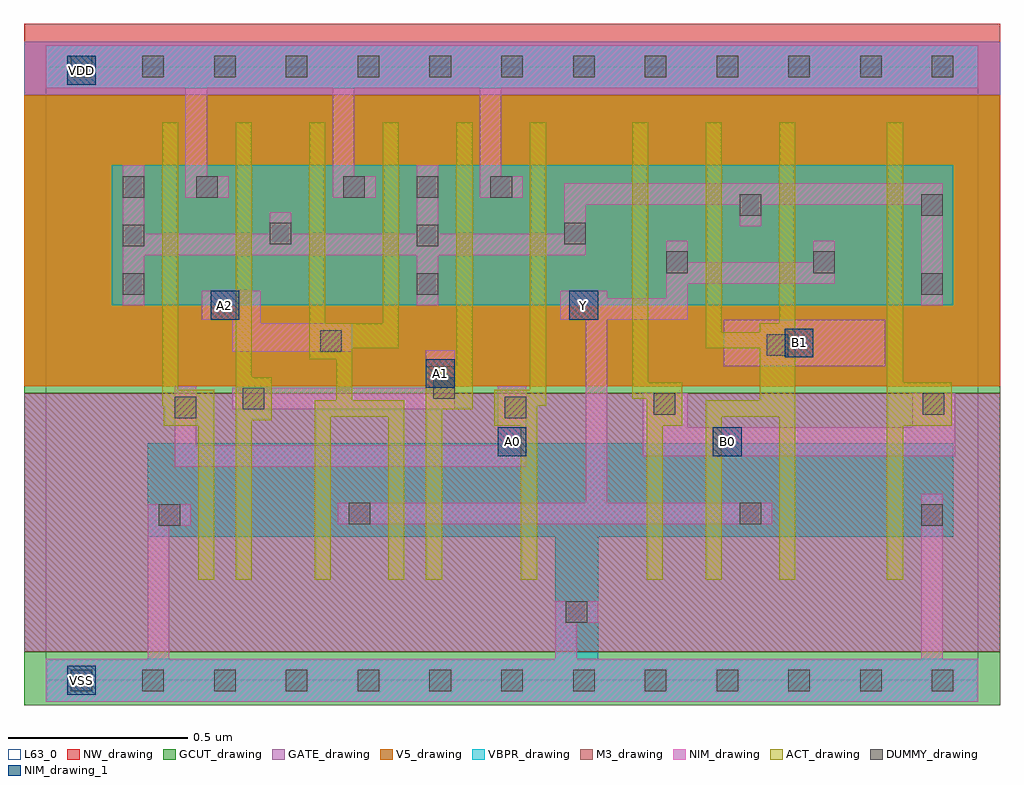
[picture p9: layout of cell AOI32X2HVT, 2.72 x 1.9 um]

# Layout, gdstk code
import gdstk
lib = gdstk.Library(unit=1e-6, precision=5e-10)
def R(c, l, rs):  # rectangles x0, y0, x1, y1
    for r in rs: c.add(gdstk.rectangle(r[:2], r[2:], *l))
def A(c, l, x, y, w, h, nx, ny, dx, dy):  # array of equal rectangles
    R(c, l, [(x+i*dx, y+j*dy, x+i*dx+w, y+j*dy+h) for i in range(nx) for j in range(ny)])
def P(c, l, *ps):  # polygons
    for p in ps: c.add(gdstk.Polygon(p, *l))
VBPR_drawing = (1, 0)
NW_drawing = (2, 0)
ACT_drawing = (3, 0)
GATE_drawing = (4, 0)
GCUT_drawing = (5, 0)
DUMMY_drawing = (6, 0)
NIM_drawing = (7, 0)
NIM_drawing_1 = (7, 1)
M3_drawing = (18, 0)
V5_drawing = (23, 0)
L63_0 = (63, 0)

aoi32x2hvt = lib.new_cell('AOI32X2HVT')
R(aoi32x2hvt, VBPR_drawing, [(0,-0.06,2.6,0.06), (0.185,1.045,2.53,1.435), (0,1.65,2.6,1.77)])
P(aoi32x2hvt, VBPR_drawing, [(2.53,0.66),(0.285,0.66),(0.285,0.4),(1.42,0.4),(1.42,0.06),(1.54,0.06),(1.54,0.4),(2.53,0.4)])
R(aoi32x2hvt, NW_drawing, [(-0.06,0.82,2.66,1.83)])
P(aoi32x2hvt, ACT_drawing, [(0.325,1.555),(0.37,1.555),(0.37,0.81),(0.47,0.81),(0.47,0.28),(0.425,0.28),(0.425,0.71),(0.33,0.71),(0.33,0.765),(0.325,0.765)],
  [(0.53,1.555),(0.575,1.555),(0.575,0.845),(0.63,0.845),(0.63,0.725),(0.575,0.725),(0.575,0.28),(0.53,0.28)],
  [(0.735,1.555),(0.78,1.555),(0.78,0.995),(0.94,0.995),(0.94,1.555),(0.985,1.555),(0.985,0.925),(0.855,0.925),(0.855,0.78),(1,0.78),(1,0.28),(0.955,0.28),(0.955,0.735),(0.795,0.735),(0.795,0.28),(0.75,0.28),(0.75,0.78),(0.81,0.78),(0.81,0.895),(0.735,0.895)],
  [(1.145,1.555),(1.19,1.555),(1.19,0.755),(1.105,0.755),(1.105,0.28),(1.06,0.28),(1.06,0.875),(1.145,0.875)],
  [(1.35,1.555),(1.395,1.555),(1.395,0.765),(1.37,0.765),(1.37,0.28),(1.325,0.28),(1.325,0.71),(1.25,0.71),(1.25,0.81),(1.35,0.81)],
  [(1.635,1.555),(1.68,1.555),(1.68,0.83),(1.775,0.83),(1.775,0.71),(1.72,0.71),(1.72,0.28),(1.675,0.28),(1.675,0.785),(1.635,0.785)],
  [(1.84,1.555),(1.885,1.555),(1.885,0.97),(1.99,0.97),(1.99,0.995),(2.045,0.995),(2.045,1.555),(2.09,1.555),(2.09,0.28),(2.045,0.28),(2.045,0.735),(1.885,0.735),(1.885,0.28),(1.84,0.28),(1.84,0.78),(1.99,0.78),(1.99,0.925),(1.84,0.925)],
  [(2.345,1.555),(2.39,1.555),(2.39,0.83),(2.525,0.83),(2.525,0.71),(2.39,0.71),(2.39,0.28),(2.345,0.28)])
R(aoi32x2hvt, GATE_drawing, [(-0.06,0.08,2.66,0.8), (-0.06,1.63,2.66,1.78)])
R(aoi32x2hvt, GCUT_drawing, [(-0.06,-0.07,2.66,0.08), (-0.06,0.8,2.66,1.63)])
A(aoi32x2hvt, DUMMY_drawing, 0.07, -0.03, 0.06, 0.06, 13, 2, 0.2, 1.71)
A(aoi32x2hvt, DUMMY_drawing, 0.215, 1.075, 0.06, 0.06, 1, 3, 0, 0.135)
A(aoi32x2hvt, DUMMY_drawing, 0.83, 1.345, 0.06, 0.06, 3, 1, 0.205, 0)
R(aoi32x2hvt, DUMMY_drawing, [(1.45,0.16,1.51,0.22), (0.315,0.43,0.375,0.49), (2.44,0.43,2.5,0.49), (0.845,0.435,0.905,0.495), (1.935,0.435,1.995,0.495), (0.36,0.73,0.42,0.79), (1.28,0.73,1.34,0.79), (1.695,0.74,1.755,0.8), (2.445,0.74,2.505,0.8), (0.55,0.755,0.61,0.815), (1.08,0.785,1.14,0.845), (2.01,0.905,2.07,0.965), (0.765,0.915,0.825,0.975), (1.035,1.075,1.095,1.135), (2.44,1.075,2.5,1.135), (1.73,1.135,1.79,1.195), (2.14,1.135,2.2,1.195), (1.035,1.21,1.095,1.27), (0.625,1.215,0.685,1.275), (1.445,1.215,1.505,1.275), (1.935,1.295,1.995,1.355), (2.44,1.295,2.5,1.355), (0.42,1.345,0.48,1.405)])
R(aoi32x2hvt, NIM_drawing, [(2.44,0.06,2.5,0.52), (1.89,0.875,2.34,1.005)])
P(aoi32x2hvt, NIM_drawing, [(0.405,0.49),(0.285,0.49),(0.285,0.06),(0.345,0.06),(0.345,0.43),(0.405,0.43)],
  [(0.92,1.405),(0.86,1.405),(0.86,1.65),(0.8,1.65),(0.8,1.345),(0.92,1.345)],
  [(0.51,1.405),(0.45,1.405),(0.45,1.65),(0.39,1.65),(0.39,1.345),(0.51,1.345)],
  [(1.54,0.22),(1.42,0.22),(1.42,0.06),(1.48,0.06),(1.48,0.16),(1.54,0.16)],
  [(1.33,1.405),(1.27,1.405),(1.27,1.65),(1.21,1.65),(1.21,1.345),(1.33,1.345)],
  [(0.215,1.435),(0.275,1.435),(0.275,1.245),(0.625,1.245),(0.625,1.305),(0.685,1.305),(0.685,1.245),(1.035,1.245),(1.035,1.435),(1.095,1.435),(1.095,1.245),(1.445,1.245),(1.445,1.385),(2.5,1.385),(2.5,1.045),(2.44,1.045),(2.44,1.325),(1.995,1.325),(1.995,1.265),(1.935,1.265),(1.935,1.325),(1.505,1.325),(1.505,1.185),(1.095,1.185),(1.095,1.045),(1.035,1.045),(1.035,1.185),(0.275,1.185),(0.275,1.045),(0.215,1.045)],
  [(0.435,1.085),(0.6,1.085),(0.6,0.995),(0.855,0.995),(0.855,0.915),(0.52,0.915),(0.52,1.005),(0.435,1.005)],
  [(1.73,1.225),(1.79,1.225),(1.79,1.165),(2.14,1.165),(2.14,1.225),(2.2,1.225),(2.2,1.105),(1.79,1.105),(1.79,1.005),(1.565,1.005),(1.565,0.495),(2.025,0.495),(2.025,0.435),(0.815,0.435),(0.815,0.495),(1.505,0.495),(1.505,1.005),(1.435,1.005),(1.435,1.085),(1.565,1.085),(1.565,1.065),(1.73,1.065)],
  [(1.06,0.92),(1.14,0.92),(1.14,0.755),(0.52,0.755),(0.52,0.815),(1.06,0.815)],
  [(0.36,0.82),(0.42,0.82),(0.42,0.655),(1.26,0.655),(1.26,0.82),(1.34,0.82),(1.34,0.595),(0.36,0.595)],
  [(1.665,0.8),(1.79,0.8),(1.79,0.705),(2.415,0.705),(2.415,0.8),(2.535,0.8),(2.535,0.625),(1.665,0.625)])
R(aoi32x2hvt, NIM_drawing_1, [(0.06,-0.04,0.14,0.04), (1.26,0.625,1.34,0.705), (1.86,0.625,1.94,0.705), (1.06,0.815,1.14,0.895), (2.06,0.9,2.14,0.98), (0.46,1.005,0.54,1.085), (1.46,1.005,1.54,1.085), (0.06,1.66,0.14,1.74)])
R(aoi32x2hvt, M3_drawing, [(-0.06,0.08,2.66,0.8)])
R(aoi32x2hvt, V5_drawing, [(-0.06,0.82,2.66,1.63)])
R(aoi32x2hvt, L63_0, [(0,0,2.6,1.71)])
aoi32x2hvt.add(gdstk.FlexPath([(0,0),(2.6,0)], 0.12, ends="flush", simple_path=True, layer=7, datatype=0))  # NIM_drawing
aoi32x2hvt.add(gdstk.FlexPath([(0,1.71),(2.6,1.71)], 0.12, ends="flush", simple_path=True, layer=7, datatype=0))  # NIM_drawing
aoi32x2hvt.add(gdstk.Label('B1', (2.1,0.94), layer=7, texttype=1))
aoi32x2hvt.add(gdstk.Label('Y', (1.5,1.045), layer=7, texttype=1))
aoi32x2hvt.add(gdstk.Label('A2', (0.5,1.045), layer=7, texttype=1))
aoi32x2hvt.add(gdstk.Label('A1', (1.1,0.855), layer=7, texttype=1))
aoi32x2hvt.add(gdstk.Label('A0', (1.3,0.665), layer=7, texttype=1))
aoi32x2hvt.add(gdstk.Label('B0', (1.9,0.665), layer=7, texttype=1))
aoi32x2hvt.add(gdstk.Label('VDD', (0.1,1.7), layer=7, texttype=1))
aoi32x2hvt.add(gdstk.Label('VSS', (0.1,0), layer=7, texttype=1))
aoi32x2hvt.add(gdstk.Label('VSS', (0.1,0), layer=7, texttype=1))
aoi32x2hvt.add(gdstk.Label('VDD', (0.1,1.7), layer=7, texttype=1))
aoi32x2hvt.add(gdstk.Label('B0', (1.9,0.665), layer=7, texttype=1))
aoi32x2hvt.add(gdstk.Label('A0', (1.3,0.665), layer=7, texttype=1))
aoi32x2hvt.add(gdstk.Label('B1', (2.1,0.94), layer=7, texttype=1))
aoi32x2hvt.add(gdstk.Label('A1', (1.1,0.855), layer=7, texttype=1))
aoi32x2hvt.add(gdstk.Label('A2', (0.5,1.045), layer=7, texttype=1))
aoi32x2hvt.add(gdstk.Label('Y', (1.5,1.045), layer=7, texttype=1))
aoi32x2hvt.add(gdstk.Label('AOI32X2', (0,0), layer=63, texttype=0))

lib.write_gds('AOI32X2HVT.gds')
